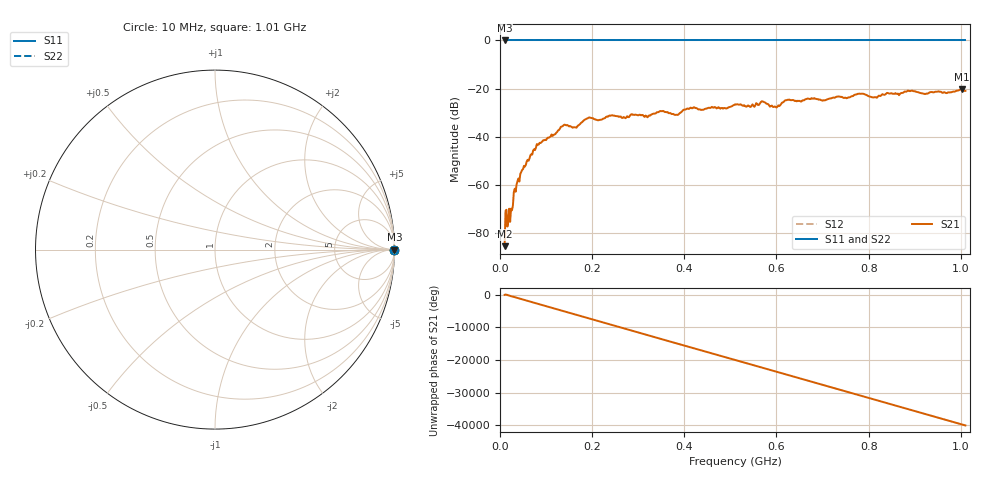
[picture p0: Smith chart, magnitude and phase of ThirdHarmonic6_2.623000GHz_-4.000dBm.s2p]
! 8/17/2025 5:48:53 AM
! C:\ANRITSUVNA\TEMP\TEMP.S2P
! CHANNEL.1
! TR.MEASUREMENT
! RAW.DATA
! RF.CORRECTION.OFF
! AVERAGING.OFF
! IF.BANDWIDTH: 5KHZ
! SWEEPTYPE:  FREQ.SWEEP(Linear)
! Reference Plane Port Info
! PORT:  PORT1  PORT2
! DISTANCE:  0  m  0  m
! TIME:  0  s  0  s
! PHASE.OFFSET:  0  deg.  0  deg.
! LOSS:  0  dB  0  dB
! REF.LOSS:  0  dB  0  dB
! REF.FREQ:  0  Hz  0  Hz
! Power Info
! POWER:  -20  dBm  -20  dBm
! EFF.POWER:  -20  dBm  -20  dBm
! SOURCE.ATTEN:  0  dB  0  dB
! TEST.ATTEN:  0  dB  0  dB
# GHZ S RI R 50.0
! FREQ.GHZ  S11RE  S11IM  S21RE  S21IM  S12RE  S12IM  S22RE  S22IM
!; PortSelection: Port_12
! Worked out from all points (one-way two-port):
!   501 points, 10 MHz to 1.01 GHz, reference 50 ohm
!   highest |S21| = -20.36 dB at 1.002 GHz (marker M1); lowest = -85.6 dB at 10 MHz (marker M2)
!   lowest |S11| = 0.0 dB at 10 MHz (marker M3)
!   |S11| at or under -10 dB: nowhere
!   |S22| runs from 0.0 to 0.0 dB; largest |S21 - S12| = 1.1
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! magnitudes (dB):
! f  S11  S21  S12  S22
! 10 MHz  0.0  -85.6  0.0  0.0
! 16 MHz  0.0  -77.5  0.0  0.0
! 20 MHz  0.0  -70.0  0.0  0.0
! 34 MHz  0.0  -63.0  0.0  0.0
! 48 MHz  0.0  -53.9  0.0  0.0
! 76 MHz  0.0  -45.6  0.0  0.0
! 136 MHz  0.0  -35.7  0.0  0.0
! 162 MHz  0.0  -36.1  0.0  0.0
! 178 MHz  0.0  -34.0  0.0  0.0
! 194 MHz  0.0  -32.0  0.0  0.0
! 318 MHz  0.0  -31.5  0.0  0.0
! 344 MHz  0.0  -29.8  0.0  0.0
! 384 MHz  0.0  -30.9  0.0  0.0
! 416 MHz  0.0  -28.2  0.0  0.0
! 510 MHz  0.0  -26.6  0.0  0.0
! 570 MHz  0.0  -25.4  0.0  0.0
! 598 MHz  0.0  -27.6  0.0  0.0
! 622 MHz  0.0  -24.9  0.0  0.0
! 678 MHz  0.0  -24.2  0.0  0.0
! 844 MHz  0.0  -22.1  0.0  0.0
! 1.002 GHz  0.0  -20.4  0.0  0.0
! 1.01 GHz  0.0  -21.0  0.0  0.0
